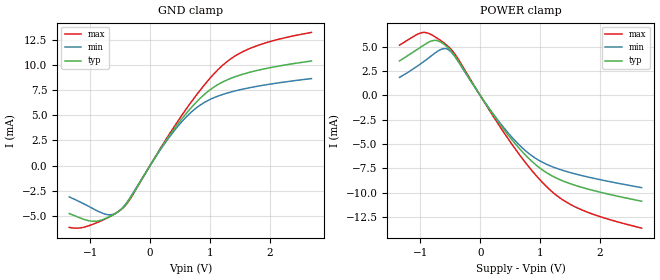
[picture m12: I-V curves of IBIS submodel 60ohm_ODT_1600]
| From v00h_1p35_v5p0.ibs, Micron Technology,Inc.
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| SUBMODEL 60ohm_ODT_1600
[Submodel]   60ohm_ODT_1600
Submodel_type  Dynamic_clamp
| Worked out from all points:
|   POWER clamp passes 1 mA (typ) near -0.10 V on its own axis
[GND Clamp]
|   Voltage   I(typ)   I(min)   I(max)
-1.35V    -4.762mA   -3.114mA   -6.142mA
-1.16V    -5.219mA   -3.639mA   -6.188mA
-935mV    -5.539mA   -4.336mA   -5.781mA
-720mV    -5.192mA   -4.862mA   -5.215mA
-585mV    -4.77mA    -4.772mA   -4.774mA
-345mV    -3.375mA   -3.292mA   -3.434mA
400mV     3.61mA     3.423mA    3.826mA
835mV     6.659mA    5.989mA    7.457mA
1.2V      8.255mA    7.031mA    9.881mA
1.5V      8.976mA    7.523mA    11.15mA
1.975V    9.682mA    8.057mA    12.26mA
2.7V      10.39mA    8.64mA     13.23mA
[POWER Clamp]
|   Voltage   I(typ)   I(min)   I(max)
-1.35V    3.555mA    1.859mA    5.173mA
-935mV    5.21mA     3.527mA    6.489mA
-730mV    5.656mA    4.475mA    5.929mA
-540mV    4.925mA    4.74mA     5.064mA
-405mV    3.912mA    3.837mA    4.094mA
150mV     -1.379mA   -1.326mA   -1.48mA
485mV     -4.201mA   -3.974mA   -4.61mA
825mV     -6.542mA   -6.017mA   -7.425mA
1.145V    -8.068mA   -7.169mA   -9.578mA
1.39V     -8.802mA   -7.716mA   -10.77mA
1.645V    -9.346mA   -8.15mA    -11.62mA
2.7V      -10.87mA   -9.475mA   -13.64mA
